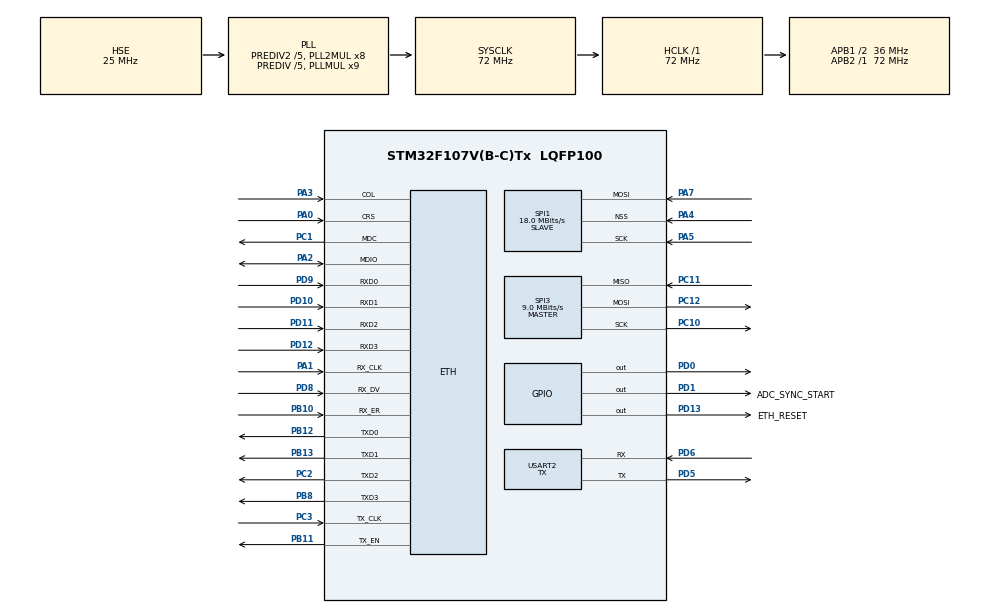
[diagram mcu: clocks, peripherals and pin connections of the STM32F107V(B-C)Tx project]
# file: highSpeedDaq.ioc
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Dma.Request0=SPI1_RX
Dma.Request1=USART2_TX
Dma.SPI1_RX.0.Direction=DMA_PERIPH_TO_MEMORY
Dma.SPI1_RX.0.Instance=DMA1_Channel2
Dma.SPI1_RX.0.MemDataAlignment=DMA_MDATAALIGN_BYTE
Dma.SPI1_RX.0.MemInc=DMA_MINC_ENABLE
Dma.SPI1_RX.0.Mode=DMA_NORMAL
Dma.SPI1_RX.0.PeriphDataAlignment=DMA_PDATAALIGN_BYTE
Dma.SPI1_RX.0.PeriphInc=DMA_PINC_DISABLE
Dma.SPI1_RX.0.Priority=DMA_PRIORITY_VERY_HIGH
Dma.USART2_TX.1.Direction=DMA_MEMORY_TO_PERIPH
Dma.USART2_TX.1.Instance=DMA1_Channel7
Dma.USART2_TX.1.MemDataAlignment=DMA_MDATAALIGN_BYTE
Dma.USART2_TX.1.MemInc=DMA_MINC_ENABLE
Dma.USART2_TX.1.Mode=DMA_NORMAL
Dma.USART2_TX.1.PeriphDataAlignment=DMA_PDATAALIGN_BYTE
Dma.USART2_TX.1.PeriphInc=DMA_PINC_DISABLE
Dma.USART2_TX.1.Priority=DMA_PRIORITY_LOW
ETH.ChecksumMode=ETH_CHECKSUM_BY_HARDWARE
ETH.MediaInterface=ETH_MEDIA_INTERFACE_MII
LWIP.GATEWAY_ADDRESS=192.168.099.001
LWIP.IP_ADDRESS=192.168.099.102
LWIP.LWIP_DHCP=0
LWIP.NETMASK_ADDRESS=255.255.255.000
LWIP.Version=v2.0.3_Cube
Mcu.Family=STM32F1
Mcu.Name=STM32F107V(B-C)Tx
Mcu.Package=LQFP100
NVIC.DMA1_Channel2_IRQn=true\:0\:0\:false\:false\:true\:false\:true
NVIC.DMA1_Channel7_IRQn=true\:0\:0\:false\:false\:true\:false\:true
NVIC.ETH_IRQn=true\:0\:0\:false\:false\:true\:true\:true
NVIC.ETH_WKUP_IRQn=true\:0\:0\:false\:false\:true\:true\:true
NVIC.PriorityGroup=NVIC_PRIORITYGROUP_4
OSC_IN.Mode=HSE-External-Oscillator
OSC_IN.Signal=RCC_OSC_IN
OSC_OUT.Mode=HSE-External-Oscillator
OSC_OUT.Signal=RCC_OSC_OUT
PA0-WKUP.Mode=MII
PA0-WKUP.Signal=ETH_CRS
PA1.Mode=MII
PA1.Signal=ETH_RX_CLK
PA13.Mode=Serial_Wire
PA13.Signal=SYS_JTMS-SWDIO
PA14.Mode=Serial_Wire
PA14.Signal=SYS_JTCK-SWCLK
PA2.Mode=MII
PA2.Signal=ETH_MDIO
PA3.Mode=MII
PA3.Signal=ETH_COL
PA4.Mode=NSS_Signal_Hard_Input
PA4.Signal=SPI1_NSS
PA5.Mode=RX_Only_Simplex_Unidirect_Slave
PA5.Signal=SPI1_SCK
PA7.Mode=RX_Only_Simplex_Unidirect_Slave
PA7.Signal=SPI1_MOSI
PB10.Mode=Activate Rx Err signal
PB10.Signal=ETH_RX_ER
PB11.Mode=MII
PB11.Signal=ETH_TX_EN
PB12.Mode=MII
PB12.Signal=ETH_TXD0
PB13.Mode=MII
PB13.Signal=ETH_TXD1
PB8.Mode=MII
PB8.Signal=ETH_TXD3
PC1.Mode=MII
PC1.Signal=ETH_MDC
PC10.Mode=Full_Duplex_Master
PC10.Signal=SPI3_SCK
PC11.Mode=Full_Duplex_Master
PC11.Signal=SPI3_MISO
PC12.Mode=Full_Duplex_Master
PC12.Signal=SPI3_MOSI
PC2.Mode=MII
PC2.Signal=ETH_TXD2
PC3.Mode=MII
PC3.Signal=ETH_TX_CLK
PD0.Signal=GPIO_Output
PD1.GPIO_Label=ADC_SYNC_START
PD1.Signal=GPIO_Output
PD10.Mode=MII
PD10.Signal=ETH_RXD1
PD11.Mode=MII
PD11.Signal=ETH_RXD2
PD12.Mode=MII
PD12.Signal=ETH_RXD3
PD13.GPIO_Label=ETH_RESET
PD13.Signal=GPIO_Output
PD5.Mode=Asynchronous
PD5.Signal=USART2_TX
PD6.Mode=Asynchronous
PD6.Signal=USART2_RX
PD8.Mode=MII
PD8.Signal=ETH_RX_DV
PD9.Mode=MII
PD9.Signal=ETH_RXD0
ProjectManager.HeapSize=0x200
ProjectManager.StackSize=0x400
ProjectManager.TargetToolchain=STM32CubeIDE
RCC.AHBFreq_Value=72000000
RCC.APB1CLKDivider=RCC_HCLK_DIV2
RCC.APB1Freq_Value=36000000
RCC.APB1TimFreq_Value=72000000
RCC.APB2Freq_Value=72000000
RCC.APB2TimFreq_Value=72000000
RCC.HCLKFreq_Value=72000000
RCC.HSEDivPLL=RCC_HSE_PREDIV_DIV5
RCC.HSE_VALUE=25000000
RCC.PLL3Mul=RCC_PLLI2S_MUL10
RCC.PLLMUL=RCC_PLL_MUL9
RCC.PLLSourceVirtual=RCC_PLLSOURCE_HSE
RCC.Prediv1Source=RCC_PREDIV1_SOURCE_PLL2
RCC.Prediv2=RCC_HSE_PREDIV2_DIV5
RCC.RCC_MCOSource=RCC_MCO1SOURCE_PLL3CLK
RCC.SYSCLKFreq_VALUE=72000000
RCC.SYSCLKSource=RCC_SYSCLKSOURCE_PLLCLK
RCC.USBFreq_Value=48000000
SPI1.BaudRatePrescaler=SPI_BAUDRATEPRESCALER_4
SPI1.CLKPolarity=SPI_POLARITY_HIGH
SPI1.CalculateBaudRate=18.0 MBits/s
SPI1.DataSize=SPI_DATASIZE_8BIT
SPI1.Direction=SPI_DIRECTION_2LINES_RXONLY
SPI1.Mode=SPI_MODE_SLAVE
SPI1.VirtualNSS=VM_NSSHARD
SPI1.VirtualType=VM_SLAVE
SPI3.BaudRatePrescaler=SPI_BAUDRATEPRESCALER_4
SPI3.CalculateBaudRate=9.0 MBits/s
SPI3.Direction=SPI_DIRECTION_2LINES
SPI3.Mode=SPI_MODE_MASTER
SPI3.VirtualType=VM_MASTER
USART2.Mode=MODE_TX
USART2.VirtualMode=VM_ASYNC
VP_LWIP_VS_Enabled.Mode=Enabled
board=custom

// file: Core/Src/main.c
/* USER CODE BEGIN Header */
/**
 ******************************************************************************
 * @file           : main.c
 * @brief          : Main program body
 ******************************************************************************
 * @attention
 *
 * <h2><center>&copy; Copyright (c) 2021 STMicroelectronics.
 * All rights reserved.</center></h2>
 *
 * This software component is licensed by ST under BSD 3-Clause license,
 * the "License"; You may not use this file except in compliance with the
 * License. You may obtain a copy of the License at:
 *                        opensource.org/licenses/BSD-3-Clause
 *
 ******************************************************************************
 */
/* USER CODE END Header */
#include "main.h"
#include "lwip.h"

/* USER CODE BEGIN Includes */
#include "debug.h"
#include "dwt.h"
#include "ad7768.h"

/* USER CODE END Includes */

/* USER CODE BEGIN PD */
#define SAMPLE_DMA_SIZE		2752
#define SAMPLE_SIZE			64

/* USER CODE END PD */

SPI_HandleTypeDef hspi1;
SPI_HandleTypeDef hspi3;
DMA_HandleTypeDef hdma_spi1_rx;

UART_HandleTypeDef huart2;
DMA_HandleTypeDef hdma_usart2_tx;

void SystemClock_Config(void);
static void MX_GPIO_Init(void);
static void MX_DMA_Init(void);
static void MX_SPI3_Init(void);
static void MX_SPI1_Init(void);
static void MX_USART2_UART_Init(void);

/* USER CODE BEGIN 0 */

uint8_t EXTI0_Flag = 0;
uint8_t SPI_RxDMABuffer[SAMPLE_DMA_SIZE * 2] = { 0 };
uint8_t SPI_RxBuffer[SAMPLE_DMA_SIZE] = { 0 };
uint8_t started = 0;
uint32_t RxBuf_Idn = 0;
uint32_t RxBufDMA_Idn = 0;

uint32_t extCnt = 0;
void HAL_GPIO_EXTI_Callback(uint16_t GPIO_Pin) {

	if (GPIO_Pin == GPIO_PIN_4) {
		__HAL_SPI_ENABLE(&hspi1);
		//__HAL_GPIO_EXTI_CLEAR_IT(EXTI4_IRQn);
		EXTI0_Flag = 1;

		HAL_GPIO_WritePin(GPIOD, GPIO_PIN_6, extCnt % 2);
		extCnt++;
	}

}

void HAL_SPI_RxHalfCpltCallback(SPI_HandleTypeDef *hspi) {
	//dbg_printf("RX\r\n");
}

void HAL_SPI_RxCpltCallback(SPI_HandleTypeDef *hspi) {
	//dbg_printf("RX ALL\r\n");
	__HAL_SPI_DISABLE(&hspi1);

	__HAL_DMA_DISABLE_IT(&hdma_spi1_rx, DMA_IT_HT);
	__HAL_DMA_ENABLE_IT(&hdma_spi1_rx, DMA_IT_TC);
	HAL_SPI_Receive_DMA(&hspi1, &SPI_RxDMABuffer[RxBufDMA_Idn],
			SAMPLE_DMA_SIZE);
	RxBufDMA_Idn += SAMPLE_DMA_SIZE;
}

static struct udp_pcb * test_pcb;
static uint16_t test_port = 55554; // arbitrary
static const ip_addr_t * test_destIp = IP_ADDR_BROADCAST; //or wherever your destination device is
extern ip4_addr_t ipaddr;
/* USER CODE END 0 */

int main(void)
{

  /* MCU Configuration--------------------------------------------------------*/

  /* Reset of all peripherals, Initializes the Flash interface and the Systick. */
  HAL_Init();

  /* Configure the system clock */
  SystemClock_Config();

  /* Initialize all configured peripherals */
  MX_GPIO_Init();
  MX_DMA_Init();
  MX_SPI3_Init();
  MX_SPI1_Init();
  MX_USART2_UART_Init();
  //MX_LWIP_Init();
  /* USER CODE BEGIN 2 */
  HAL_GPIO_WritePin(ETH_RESET_GPIO_Port, ETH_RESET_Pin, RESET);
    HAL_Delay(1000);
    HAL_GPIO_WritePin(ETH_RESET_GPIO_Port, ETH_RESET_Pin, SET);
  MX_LWIP_Init();

	debug_init();
	DWT_Init();
	SystemCoreClockUpdate();

	dbg_printf("Clock : %d\r\n", SystemCoreClock);

	AD7768_setup(AD7768_INTERFACE_CFG_DCLK_DIV(AD7768_DCLK_DIV_2),
			AD7768_CH_MODE_FILTER_TYPE | AD7768_CH_MODE_DEC_RATE(AD7768_DEC_X32),
			AD7768_PWR_MODE_POWER_MODE(
					AD7768_FAST) | AD7768_PWR_MODE_MCLK_DIV(AD7768_MCLK_DIV_4));
	HAL_Delay(100);

	GPIO_InitTypeDef GPIO_InitStruct = { 0 };
	/*Configure GPIO pin Output Level */
	HAL_GPIO_WritePin(GPIOD, GPIO_PIN_6, GPIO_PIN_RESET);

	/*Configure GPIO pins : PD0 ADC_SYNC_START_Pin */
	GPIO_InitStruct.Pin = GPIO_PIN_6;
	GPIO_InitStruct.Mode = GPIO_MODE_OUTPUT_PP;
	GPIO_InitStruct.Pull = GPIO_NOPULL;
	GPIO_InitStruct.Speed = GPIO_SPEED_FREQ_HIGH;
	HAL_GPIO_Init(GPIOD, &GPIO_InitStruct);
  /* USER CODE END 2 */

  /* Infinite loop */
  /* USER CODE BEGIN WHILE */
	test_pcb = udp_new();
	udp_bind(test_pcb, &ipaddr, 54321);
	struct pbuf * p = pbuf_alloc(PBUF_TRANSPORT, 1448 + 4, PBUF_REF);
	p->payload = (uint8_t *)malloc((1448 + 4) * sizeof(uint8_t));
	memset(p->payload, 0, 1448 + 4);

	uint8_t IP_ADDRESS_DEST[4];
	IP_ADDRESS_DEST[0] = 192;
	IP_ADDRESS_DEST[1] = 168;
	IP_ADDRESS_DEST[2] = 99;
	IP_ADDRESS_DEST[3] = 121;
	ip4_addr_t ipaddr_dest;

	IP4_ADDR(&ipaddr_dest, IP_ADDRESS_DEST[0], IP_ADDRESS_DEST[1], IP_ADDRESS_DEST[2], IP_ADDRESS_DEST[3]);

	uint8_t udpCounter[4] = {0};

	uint8_t Rx_temp;
	uint8_t initial = 1;
	uint32_t startMsec = 0;
	uint32_t starttime = 0;

	__HAL_DMA_DISABLE_IT(&hdma_spi1_rx, DMA_IT_HT);
	__HAL_DMA_ENABLE_IT(&hdma_spi1_rx, DMA_IT_TC);
	HAL_SPI_Receive_DMA(&hspi1, SPI_RxDMABuffer, SAMPLE_DMA_SIZE);

	while (1) {
    /* USER CODE END WHILE */

    /* USER CODE BEGIN 3 */

		if (EXTI0_Flag) {
			EXTI0_Flag = 0;
			//__HAL_SPI_ENABLE(&hspi1);
		}
		else
		{
			if (RxBufDMA_Idn >= SAMPLE_DMA_SIZE)
			{
				//HAL_DMA_Abort(&hdma_spi1_rx);
				//HAL_SPI_DMAPause(&hspi1);
				MX_LWIP_Process();
				RxBufDMA_Idn = 0;
				uint32_t dataCnt = 0;
				memcpy(p->payload, (uint8_t *)&udpCounter[0], 4);
				for (int i=0; i<SAMPLE_DMA_SIZE; i++)
				{
					if (SPI_RxDMABuffer[i] == 0x10 && SPI_RxDMABuffer[i+4] == 0x11)
					{
						memcpy(p->payload + 4 + 4 * dataCnt , (uint8_t *)&SPI_RxDMABuffer[i], 4);
						dataCnt++;
					}
				}

				udp_sendto(test_pcb, p, &ipaddr_dest, test_port);
				udpCounter[0]++;
				//HAL_SPI_DMAResume(&hspi1);
				/*__HAL_DMA_DISABLE_IT(&hdma_spi1_rx, DMA_IT_HT);
				__HAL_DMA_ENABLE(&hdma_spi1_rx);
				__HAL_DMA_ENABLE_IT(&hdma_spi1_rx, DMA_IT_TC);
				HAL_SPI_Receive_DMA(&hspi1, &SPI_RxDMABuffer[RxBufDMA_Idn],
						SAMPLE_DMA_SIZE);*/
			}
		}

#if 0
		if (EXTI0_Flag) {

			EXTI0_Flag = 0;
			//Rx_temp = *(__IO uint8_t *)&hspi1.Instance->DR;
			/*if (Rx_temp > 0x00)
			 {
			 dbg_printf("%x \r\n", Rx_temp);
			 }*/
			__HAL_SPI_ENABLE(&hspi1);
			/*if (initial) {
				initial = 0;
				starttime = DWT->CYCCNT;
				startMsec = HAL_GetTick();
			}*/

		} else {

		if (RxBufDMA_Idn >= SAMPLE_DMA_SIZE * 10) {

			HAL_DMA_Abort(&hdma_spi1_rx);
			MX_LWIP_Process();
			RxBuf_Idn = 0;
				/*memcpy(p->payload, (uint8_t *)&udpCounter[0], 4);
				//udp_sendto(test_pcb, p, &ipaddr_dest, test_port);
				//HAL_Delay(1);
				udpCounter[0]++;*/

#if 0
			uint32_t packetCnt = 0;
			uint32_t finishTime = DWT->CYCCNT;
			uint32_t finishMsec = HAL_GetTick();
			float finishRecv = (float)(finishTime/72);
			float startRecv = (float)(starttime/72);
			float usecPass = (finishRecv - startRecv);
			//msecPass = (float)((msecPass / 1000000));
			//dbg_printf("%f - %f = %f    %d - %d\r\n", finishRecv, startRecv, usecPass, startMsec, finishMsec);
			for (int i=0; i<10240; i++)
			{
				if (SPI_RxDMABuffer[i] == 0x20 && SPI_RxDMABuffer[i+4] == 0x23)
				{
					for (int idx=0; idx<32; idx++)
					{
						SPI_RxDMABuffer[i + idx] = SPI_RxDMABuffer[i + idx] >> 1;
					}
					i--;
				}
				if (SPI_RxDMABuffer[i] == 0x10 && SPI_RxDMABuffer[i+4] == 0x23)
				{
					for (int idx=1; idx<32; idx++)
					{
						SPI_RxDMABuffer[i + idx] = SPI_RxDMABuffer[i + idx] >> 1;
					}
					i--;
				}
				if ((SPI_RxDMABuffer[i] == 0x10 && SPI_RxDMABuffer[i+4] == 0x11))
					packetCnt++;
			}
			//dbg_printf("Packet : %d - %f kHz\n", packetCnt, (float)packetCnt*1000000/usecPass);
			float freqKhz = (float)((float)(packetCnt*1000000/usecPass) / 1000);
			RxBuf_Idn = 0;
			starttime = finishTime;
#endif
		}

		}
#endif
	}
  /* USER CODE END 3 */
}

void SystemClock_Config(void)
{
  RCC_OscInitTypeDef RCC_OscInitStruct = {0};
  RCC_ClkInitTypeDef RCC_ClkInitStruct = {0};

  /** Initializes the RCC Oscillators according to the specified parameters
  * in the RCC_OscInitTypeDef structure.
  */
  RCC_OscInitStruct.OscillatorType = RCC_OSCILLATORTYPE_HSE;
  RCC_OscInitStruct.HSEState = RCC_HSE_ON;
  RCC_OscInitStruct.HSEPredivValue = RCC_HSE_PREDIV_DIV5;
  RCC_OscInitStruct.HSIState = RCC_HSI_ON;
  RCC_OscInitStruct.Prediv1Source = RCC_PREDIV1_SOURCE_PLL2;
  RCC_OscInitStruct.PLL.PLLState = RCC_PLL_ON;
  RCC_OscInitStruct.PLL.PLLSource = RCC_PLLSOURCE_HSE;
  RCC_OscInitStruct.PLL.PLLMUL = RCC_PLL_MUL9;
  RCC_OscInitStruct.PLL2.PLL2State = RCC_PLL2_ON;
  RCC_OscInitStruct.PLL2.PLL2MUL = RCC_PLL2_MUL8;
  RCC_OscInitStruct.PLL2.HSEPrediv2Value = RCC_HSE_PREDIV2_DIV5;
  if (HAL_RCC_OscConfig(&RCC_OscInitStruct) != HAL_OK)
  {
    Error_Handler();
  }
  /** Initializes the CPU, AHB and APB buses clocks
  */
  RCC_ClkInitStruct.ClockType = RCC_CLOCKTYPE_HCLK|RCC_CLOCKTYPE_SYSCLK
                              |RCC_CLOCKTYPE_PCLK1|RCC_CLOCKTYPE_PCLK2;
  RCC_ClkInitStruct.SYSCLKSource = RCC_SYSCLKSOURCE_PLLCLK;
  RCC_ClkInitStruct.AHBCLKDivider = RCC_SYSCLK_DIV1;
  RCC_ClkInitStruct.APB1CLKDivider = RCC_HCLK_DIV2;
  RCC_ClkInitStruct.APB2CLKDivider = RCC_HCLK_DIV1;

  if (HAL_RCC_ClockConfig(&RCC_ClkInitStruct, FLASH_LATENCY_2) != HAL_OK)
  {
    Error_Handler();
  }
  /** Configure the Systick interrupt time
  */
  __HAL_RCC_HSE_PREDIV2_CONFIG(RCC_HSE_PREDIV2_DIV5);
  /** Configure the Systick interrupt time
  */
  __HAL_RCC_PLLI2S_CONFIG(RCC_PLLI2S_MUL10);
  /** Configure the Systick interrupt time
  */
  __HAL_RCC_PLLI2S_ENABLE();
}

static void MX_SPI1_Init(void)
{

  /* SPI1 parameter configuration*/
  hspi1.Instance = SPI1;
  hspi1.Init.Mode = SPI_MODE_SLAVE;
  hspi1.Init.Direction = SPI_DIRECTION_2LINES_RXONLY;
  hspi1.Init.DataSize = SPI_DATASIZE_8BIT;
  hspi1.Init.CLKPolarity = SPI_POLARITY_HIGH;
  hspi1.Init.CLKPhase = SPI_PHASE_1EDGE;
  hspi1.Init.NSS = SPI_NSS_HARD_INPUT;
  hspi1.Init.BaudRatePrescaler = SPI_BAUDRATEPRESCALER_4;
  hspi1.Init.FirstBit = SPI_FIRSTBIT_MSB;
  hspi1.Init.TIMode = SPI_TIMODE_DISABLE;
  hspi1.Init.CRCCalculation = SPI_CRCCALCULATION_DISABLE;
  hspi1.Init.CRCPolynomial = 10;
  if (HAL_SPI_Init(&hspi1) != HAL_OK)
  {
    Error_Handler();
  }

}

static void MX_SPI3_Init(void)
{

  /* SPI3 parameter configuration*/
  hspi3.Instance = SPI3;
  hspi3.Init.Mode = SPI_MODE_MASTER;
  hspi3.Init.Direction = SPI_DIRECTION_2LINES;
  hspi3.Init.DataSize = SPI_DATASIZE_8BIT;
  hspi3.Init.CLKPolarity = SPI_POLARITY_LOW;
  hspi3.Init.CLKPhase = SPI_PHASE_1EDGE;
  hspi3.Init.NSS = SPI_NSS_SOFT;
  hspi3.Init.BaudRatePrescaler = SPI_BAUDRATEPRESCALER_4;
  hspi3.Init.FirstBit = SPI_FIRSTBIT_MSB;
  hspi3.Init.TIMode = SPI_TIMODE_DISABLE;
  hspi3.Init.CRCCalculation = SPI_CRCCALCULATION_DISABLE;
  hspi3.Init.CRCPolynomial = 10;
  if (HAL_SPI_Init(&hspi3) != HAL_OK)
  {
    Error_Handler();
  }

}

static void MX_USART2_UART_Init(void)
{

  huart2.Instance = USART2;
  huart2.Init.BaudRate = 115200;
  huart2.Init.WordLength = UART_WORDLENGTH_8B;
  huart2.Init.StopBits = UART_STOPBITS_1;
  huart2.Init.Parity = UART_PARITY_NONE;
  huart2.Init.Mode = UART_MODE_TX;
  huart2.Init.HwFlowCtl = UART_HWCONTROL_NONE;
  huart2.Init.OverSampling = UART_OVERSAMPLING_16;
  if (HAL_UART_Init(&huart2) != HAL_OK)
  {
    Error_Handler();
  }

}

static void MX_DMA_Init(void)
{

  /* DMA controller clock enable */
  __HAL_RCC_DMA1_CLK_ENABLE();

  /* DMA interrupt init */
  /* DMA1_Channel2_IRQn interrupt configuration */
  HAL_NVIC_SetPriority(DMA1_Channel2_IRQn, 0, 0);
  HAL_NVIC_EnableIRQ(DMA1_Channel2_IRQn);
  /* DMA1_Channel7_IRQn interrupt configuration */
  HAL_NVIC_SetPriority(DMA1_Channel7_IRQn, 0, 0);
  HAL_NVIC_EnableIRQ(DMA1_Channel7_IRQn);

}

static void MX_GPIO_Init(void)
{
  GPIO_InitTypeDef GPIO_InitStruct = {0};

  /* GPIO Ports Clock Enable */
  __HAL_RCC_GPIOC_CLK_ENABLE();
  __HAL_RCC_GPIOA_CLK_ENABLE();
  __HAL_RCC_GPIOB_CLK_ENABLE();
  __HAL_RCC_GPIOD_CLK_ENABLE();

  /*Configure GPIO pin Output Level */
  HAL_GPIO_WritePin(GPIOD, ETH_RESET_Pin|GPIO_PIN_0|ADC_SYNC_START_Pin, GPIO_PIN_RESET);

  /*Configure GPIO pins : ETH_RESET_Pin PD0 ADC_SYNC_START_Pin */
  GPIO_InitStruct.Pin = ETH_RESET_Pin|GPIO_PIN_0|ADC_SYNC_START_Pin;
  GPIO_InitStruct.Mode = GPIO_MODE_OUTPUT_PP;
  GPIO_InitStruct.Pull = GPIO_NOPULL;
  GPIO_InitStruct.Speed = GPIO_SPEED_FREQ_LOW;
  HAL_GPIO_Init(GPIOD, &GPIO_InitStruct);

}

void Error_Handler(void)
{
	__disable_irq();
	while (1) {
	}
}

/************************ (C) COPYRIGHT STMicroelectronics *****END OF FILE****/
